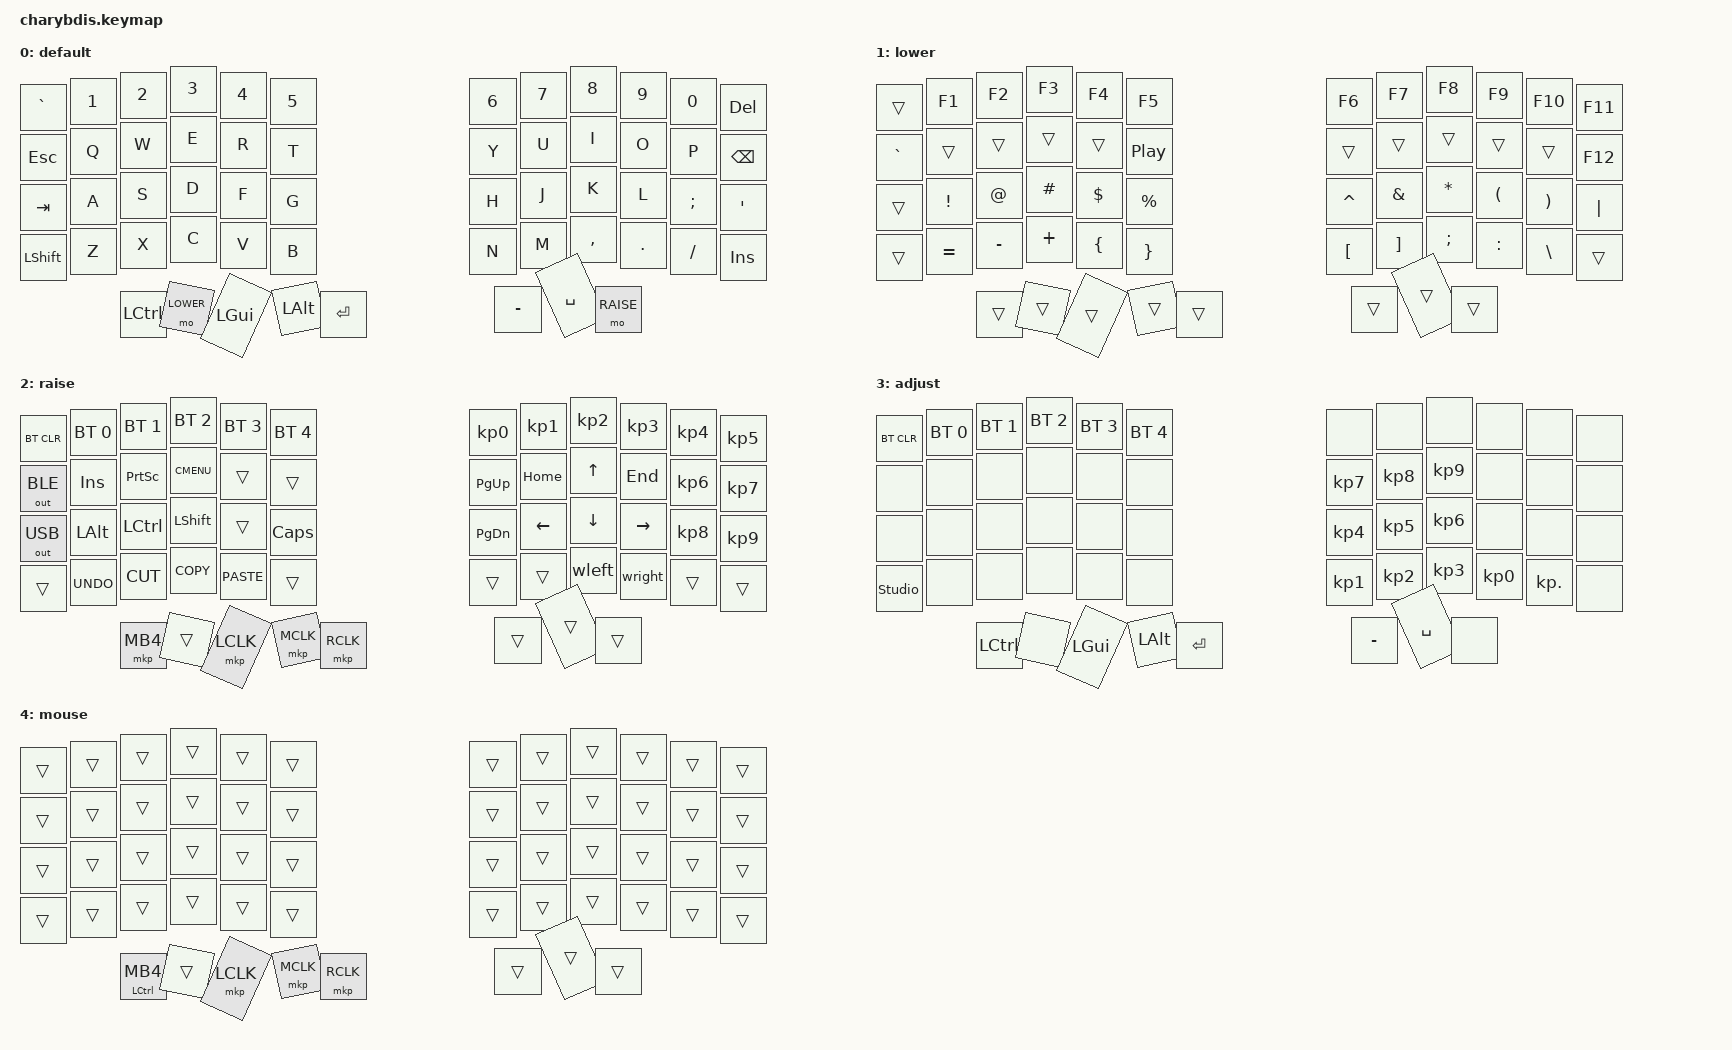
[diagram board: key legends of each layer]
/*
 * Copyright (c) 2020 The ZMK Contributors
 *
 * SPDX-License-Identifier: MIT
 */

#include <behaviors.dtsi>
#include <dt-bindings/zmk/keys.h>
#include <dt-bindings/zmk/bt.h>
#include <dt-bindings/zmk/rgb.h>
#include <dt-bindings/zmk/ext_power.h>
#include <dt-bindings/zmk/outputs.h>
#include <dt-bindings/zmk/mouse.h>

#define BASE 0
#define LOWER 1
#define RAISE 2
#define ADJUST 3
#define MOUSE 4


/ {
 macros {
        wleft: wleft {
            compatible = "zmk,behavior-macro";
            #binding-cells = <0>;
            bindings
                = <&macro_press &kp LGUI>, <&macro_press &kp LCTRL>
                , <&macro_tap &kp LEFT>
                , <&macro_release &kp LGUI>,<&macro_release &kp LCTRL>
                ;
        };
        wright: wright {
            compatible = "zmk,behavior-macro";
            #binding-cells = <0>;
            bindings
                = <&macro_press &kp LGUI>, <&macro_press &kp LCTRL>
                , <&macro_tap &kp RIGHT>
                , <&macro_release &kp LGUI>,<&macro_release &kp LCTRL>
                ;
        };
    };

   // Trackball gestures on the RAISE layer (zettaface/zmk-input-processor-keybind):
   // quantize net movement into discrete keystrokes. bindings = [right, left, up, down].
   // Right/left switch virtual desktops; up/down are volume.
   // tick is in movement counts; at ~800 effective CPI, ~315 counts = 1 cm of travel.
   // Single global tick (stock module) -> it governs BOTH axes: lower = faster volume,
   // but also more desktop switches per swipe. Tune to taste.
    zip_keybind: zip_keybind {
        compatible = "zmk,input-processor-keybind";
        #input-processor-cells = <0>;
        mode = <1>;
        bindings = <&wright>, <&wleft>, <&kp C_VOL_UP>, <&kp C_VOL_DN>;
        tick = <150>;
        tap-ms = <10>;
        track_remainders;
    };

   // Activate ADJUST layer by pressing raise and lower
    conditional_layers {
        compatible = "zmk,conditional-layers";
        adjust_layer {
            if-layers = <LOWER RAISE>;
            then-layer = <ADJUST>;
        };
    };

    behaviors {
        // Thumb click/modifier hold-tap: quick TAP = mouse button, HOLD = modifier.
        // bindings = <hold>, <tap> -> hold uses &kp (keycode), tap uses &mkp (mouse button).
        // Invoke as `&mclk <modifier> <mouse-button>`, e.g. &mclk LCTRL MB4.
        // Point of it: a thumb tap is ALWAYS a click (never a bare modifier), so a click that
        // lands before the auto-mouse layer finishes arming can't fire a lone LGUI -> no
        // accidental Windows Start menu. A long press still gives Ctrl/Alt/Gui.
        mclk: thumb_click_mod {
            compatible = "zmk,behavior-hold-tap";
            #binding-cells = <2>;
            flavor = "balanced";
            tapping-term-ms = <200>;
            bindings = <&kp>, <&mkp>;
        };
    };

    keymap {
        compatible = "zmk,keymap";

        default_layer {
            display-name = "default";
// ------------------------------------------------------------------------------------------------------------
// |   `   |  1  |  2  |  3   |  4   |  5   |                   |  6   |  7    |  8    |  9   |   0   |  DEL  |
// |  ESC  |  Q  |  W  |  E   |  R   |  T   |                   |  Y   |  U    |  I    |  O   |   P   | BKSPC |
// |  TAB  |  A|afi  |  S  |  D   |  F   |  G   |                   |  H   |  J    |  K    |  L   |   ;   INS   '   |
// | SHIFT |  Z  |  X  |  C   |  V   |  B   |  PAUSE  |  |       |  N   |  M    |  ,    |  .   |   /   | SHIFT |
//               | ENTER | CTRL | LOWER | GUI | ALT |  |  -  | SPACE | RAISE |
//   (left-thumb bindings below are rotated to compensate for the flipped left-half columns)
            bindings = <
&kp GRAVE &kp N1 &kp N2   &kp N3   &kp N4    &kp N5                           &kp N6 &kp N7    &kp N8    &kp N9   &kp N0   &kp DELETE
&kp ESC   &kp Q  &kp W    &kp E    &kp R     &kp T                            &kp Y  &kp U     &kp I     &kp O    &kp P    &kp BSPC
&kp TAB   &kp A  &kp S    &kp D    &kp F     &kp G                            &kp H  &kp J     &kp K     &kp L    &kp SEMI &kp SQT
&kp LSHFT &kp Z  &kp X    &kp C    &kp V     &kp B                            &kp N  &kp M     &kp COMMA &kp DOT  &kp FSLH &kp INS
          &kp LCTRL &mo LOWER &kp LGUI &kp LALT  &kp RET                      &kp MINUS  &kp SPACE  &mo RAISE
            >;
        };

        lower_layer {
            display-name = "lower";
// TODO: Some binds are waiting for shifted keycode support.
// ------------------------------------------------------------------------------------------------------------
// |       |  F1 |  F2 |  F3  |  F4  |  F5  |                   |  F6  |  F7   |  F8   |  F9  |  F10  |  F11  |
// |   `   |     |     |      |      | PLY/PS |                 |      |       |       |      |       |  F12  |
// |       |  !  |  @  |  #   |  $   |  %   |                   |  ^   |  &    |  *    |  (   |   )   |   |   |
// |       |  =  |  -  |  +   |  {   |  }   |        |  |       |  [   |  ]    |  ;    |  :   |   \   |       |
//               |     |      |      |      |        |  |       |      |       |       |      |
            bindings = <
&trans    &kp F1    &kp F2    &kp F3      &kp F4    &kp F5                    &kp F6    &kp F7   &kp F8    &kp F9    &kp F10   &kp F11
&kp GRAVE &trans    &trans    &trans      &trans    &kp C_PLAY_PAUSE          &trans    &trans    &trans    &trans     &trans    &kp F12
&trans    &kp EXCL  &kp AT    &kp HASH    &kp DLLR  &kp PRCNT                 &kp CARET &kp AMPS &kp ASTRK &kp LPAR  &kp RPAR  &kp PIPE
&trans    &kp EQUAL &kp MINUS &kp PLUS    &kp LBRC  &kp RBRC                  &kp LBKT  &kp RBKT &kp SEMI  &kp COLON &kp BSLH  &trans
          &trans    &trans      &trans    &trans     &trans                   &trans    &trans   &trans
            >;
        };

        raise_layer {
            display-name = "raise";
// ------------------------------------------------------------------------------------------------------------
// | BTCLR | BT1  | BT2  |  BT3  |  BT4  |  BT5 |                | num0 | num1 | num2  | num3 | num4  | num5  |
// |OUT_BLE| INS  | PSCR | GUI   |       |      |                | PGUP | HOME |   ^   | END  | num6  | num7  |
// |OUT_USB| ALT  | CTRL | SHIFT |       | CAPS |                | PGDN |   <- |   v   |  ->  | num8  | num9  |
// |       | UNDO | CUT  | COPY  | PASTE |      |      |  |      |      | wleft| wright|       |       |
//                |      |       |       |      |      |  |      |      |      |       |      |
// Left-thumb mouse clicks (gestures still on the ball): CTRL->MB4  GUI->LCLK  ALT->MCLK  ENTER->RCLK.
// Ball keeps doing gestures here (movement is zeroed), so this adds clicks without any cursor move.
            bindings = <
&bt BT_CLR      &bt BT_SEL 0 &bt BT_SEL 1 &bt BT_SEL 2 &bt BT_SEL 3 &bt BT_SEL 4                  &kp KP_N0 &kp KP_N1 &kp KP_N2 &kp KP_N3  &kp KP_N4 &kp KP_N5
&out OUT_BLE    &kp INS      &kp PSCRN    &kp K_CMENU  &trans       &trans                        &kp PG_UP &kp HOME  &kp UP    &kp END    &kp KP_N6 &kp KP_N7
&out OUT_USB    &kp LALT     &kp LCTRL    &kp LSHFT    &trans       &kp CLCK                      &kp PG_DN &kp LEFT  &kp DOWN  &kp RIGHT  &kp KP_N8 &kp KP_N9
&trans          &kp K_UNDO   &kp K_CUT    &kp K_COPY   &kp K_PASTE  &trans                        &trans    &trans    &wleft    &wright    &trans    &trans
                &mkp MB4     &trans       &mkp LCLK    &mkp MCLK     &mkp RCLK                     &trans  &trans    &trans
            >;
        };

        adjust_layer {
// ------------------------------------------------------------------------------------------------------------
// | BTCLR | BT1 | BT2 | BT3 | BT4 | BT5 |                   |  7  |  8  |  9  |     |     |     |
// |       |     |     |     |     |     |                   |  4  |  5  |  6  |     |     |     |
// |       |     |     |     |     |     |                   |  1  |  2  |  3  |  0  |  .  |     |
// | studio|     |     |     |     |     |        |  |       |     |     |     |     |     |     |
//                |     |     |     |     |        |  |       |     |     |     |
            display-name = "adjust";
            bindings = <
&bt BT_CLR        &bt BT_SEL 0    &bt BT_SEL 1    &bt BT_SEL 2    &bt BT_SEL 3    &bt BT_SEL 4                            &none &none  &none &none &none &none
&none             &none           &none           &none           &none           &none                                   &kp KP_N7 &kp KP_N8 &kp KP_N9 &none     &none      &none
&none             &none           &none           &none           &none           &none                                   &kp KP_N4 &kp KP_N5 &kp KP_N6 &none     &none      &none
&studio_unlock    &none           &none           &none           &none           &none                                   &kp KP_N1 &kp KP_N2 &kp KP_N3 &kp KP_N0 &kp KP_DOT &none
                  &kp LCTRL       &none           &kp LGUI        &kp LALT        &kp RET                                &kp MINUS &kp SPACE &none
            >;
        };

        mouse_layer {
            display-name = "mouse";
// Auto-activated by trackball movement (see &zip_temp_layer on trackball_listener).
// Mouse buttons live on the LEFT thumb cluster (click with the hand opposite the ball):
//   CTRL: tap MB4 / hold Ctrl   GUI: LCLK (drag)   ALT: MCLK   ENTER: RCLK   (LOWER kept)
// Non-thumb keys deactivate this layer; all thumbs are excluded (excluded-positions in pmw3610.dtsi).
            bindings = <
&trans   &trans &trans    &trans    &trans    &trans                         &trans    &trans    &trans    &trans   &trans   &trans
&trans   &trans &trans    &trans    &trans    &trans                         &trans    &trans    &trans    &trans   &trans   &trans
&trans   &trans &trans    &trans    &trans    &trans                         &trans    &trans    &trans    &trans   &trans   &trans
&trans   &trans &trans    &trans    &trans    &trans                         &trans    &trans    &trans    &trans   &trans   &trans
         &mclk LCTRL MB4 &trans &mkp LCLK &mkp MCLK &mkp RCLK          &trans    &trans    &trans
            >;
        };

    };
};
